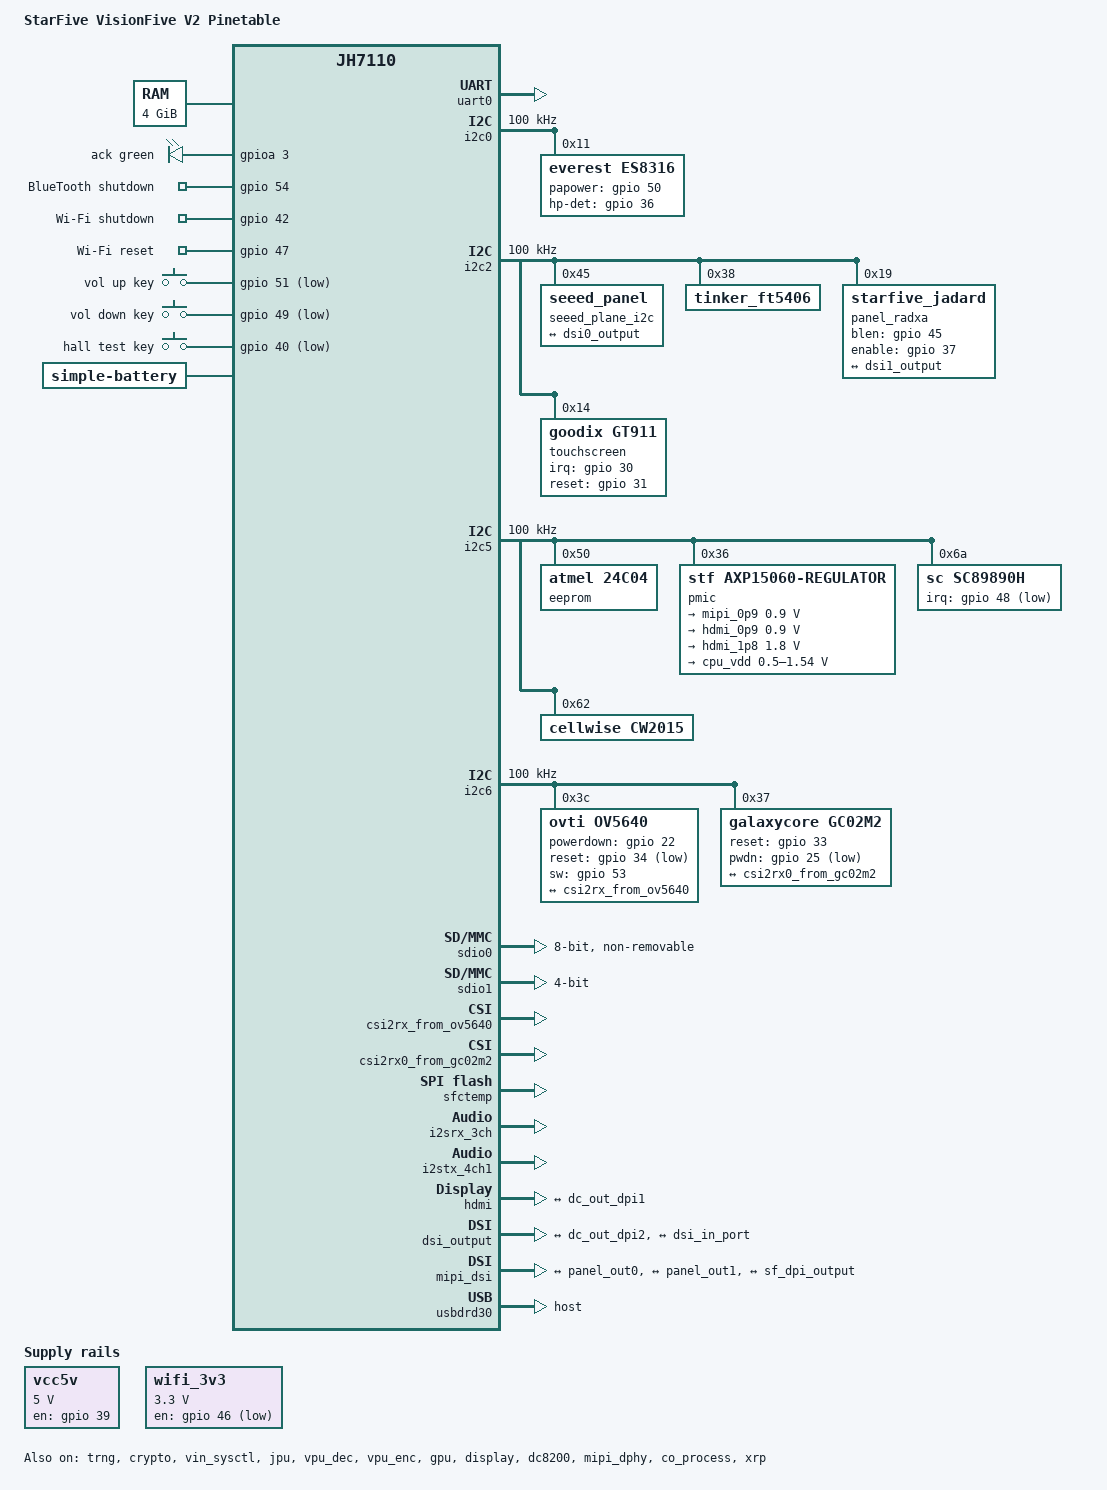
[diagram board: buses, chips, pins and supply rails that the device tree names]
// SPDX-License-Identifier: GPL-2.0 OR MIT
/*
 * Copyright (C) 2022 StarFive Technology Co., Ltd.
 * Copyright (C) 2022 Hal Feng <hal.feng@starfivetech.com>
 */

/dts-v1/;
#include <dt-bindings/gpio/gpio.h>
#include <dt-bindings/leds/common.h>
#include <dt-bindings/pinctrl/starfive,jh7110-pinfunc.h>
#include <dt-bindings/input/linux-event-codes.h>
#include "jh7110.dtsi"

/ {
	model = "StarFive VisionFive V2 Pinetable";
	compatible = "starfive,visionfive-v2", "starfive,jh7110";

	aliases {
		spi0 = &qspi;
		gpio0 = &gpio;
		ethernet0 = &gmac0;
		ethernet1 = &gmac1;
		mmc0 = &sdio0;
		mmc1 = &sdio1;
		serial0 = &uart0;
		serial3 = &uart3;
		i2c0 = &i2c0;
		i2c1 = &i2c1;
		i2c2 = &i2c2;
		i2c3 = &i2c3;
		i2c4 = &i2c4;
		i2c5 = &i2c5;
		i2c6 = &i2c6;
	};

	chosen {
		linux,initrd-start = <0x0 0x46100000>;
		linux,initrd-end = <0x0 0x4c000000>;
		stdout-path = "serial0:115200";
		#bootargs = "debug console=ttyS0 rootwait";
	};

	cpus {
		timebase-frequency = <4000000>;
	};

	memory@40000000 {
		device_type = "memory";
		reg = <0x0 0x40000000 0x1 0x0>;
	};

	reserved-memory {
		#address-cells = <2>;
		#size-cells = <2>;
		ranges;

		linux,cma {
			compatible = "shared-dma-pool";
			reusable;
			size = <0x0 0x20000000>;
			alignment = <0x0 0x1000>;
			alloc-ranges = <0x0 0x80000000 0x0 0x20000000>;
			linux,cma-default;
		};

		e24_mem: e24@c0000000 {
			no-map;
			reg = <0x0 0xc0110000 0x0 0xf0000>;
		};

		xrp_reserved: xrpbuffer@f0000000 {
			reg = <0x0 0xf0000000 0x0 0x01ffffff
				0x0 0xf2000000 0x0 0x00001000
				0x0 0xf2001000 0x0 0x00fff000
				0x0 0xf3000000 0x0 0x00001000>;
		};

	};

	leds {
		compatible = "gpio-leds";

		led-ack {
			gpios = <&gpioa 3 GPIO_ACTIVE_HIGH>;
			color = <LED_COLOR_ID_GREEN>;
			function = LED_FUNCTION_HEARTBEAT;
			linux,default-trigger = "heartbeat";
			label = "ack";
		};
	};

	vcc5v: vcc5v{
		compatible = "regulator-fixed";
		enable-active-high;
		gpio = <&gpio 39 0>;
		regulator-boot-on;
		regulator-always-on;
		regulator-name = "vcc_5v";
		regulator-min-microvolt = <5000000>;
		regulator-max-microvolt = <5000000>;
	};

	wifi_3v3: wifi_3v3{
		compatible = "regulator-fixed";
		enable-active-low;
		gpio = <&gpio 46 1>;
		regulator-boot-on;
		regulator-always-on;
		regulator-name = "wifi_3v3";
		regulator-min-microvolt = <3300000>;
		regulator-max-microvolt = <3300000>;
	};

	rfkill_bt {
		compatible = "rfkill-gpio";
		label = "BlueTooth";
		radio-type = "bluetooth";
		shutdown-gpios = <&gpio 54 GPIO_ACTIVE_HIGH>;
	};

	rfkill_wifi {
		compatible = "rfkill-gpio";
		label = "Wi-Fi";
		radio-type = "wlan";
		shutdown-gpios = <&gpio 42 GPIO_ACTIVE_HIGH>;
		reset-gpios = <&gpio 47 GPIO_ACTIVE_HIGH>;
	};

	gpio_keys: gpio-keys {
		status = "okay";
		compatible = "gpio-keys";
		autorepeat;

		vol-up-key {
			label = "vol up key";
			debounce-interval = <10>;
			linux,input-type = <EV_KEY>;
			linux,code = <KEY_VOLUMEUP>;
			gpios = <&gpio 51 GPIO_ACTIVE_LOW>;
		};

		vol-down-key {
			label = "vol down key";
			debounce-interval = <10>;
			linux,input-type = <EV_KEY>;
			linux,code = <KEY_VOLUMEDOWN>;
			gpios = <&gpio 49 GPIO_ACTIVE_LOW>;
		};

		hall-key {
			label = "hall test key";
			debounce-interval = <10>;
			linux,input-type = <EV_KEY>;
			linux,code = <KEY_1>;
			gpios = <&gpio 40 GPIO_ACTIVE_LOW>;
		};
	};

	bat: battery {
		compatible = "simple-battery";
		charge-full-design-microamp-hours = <9800000>;
		voltage-max-design-microvolt = <4350000>;
		voltage-min-design-microvolt = <3000000>;
	};


};

&gpio {
	i2c0_pins: i2c0-pins {
		i2c0-pins-scl {
			starfive,pins = <PAD_GPIO57>;
			starfive,pinmux = <PAD_GPIO57_FUNC_SEL 0>;
			starfive,pin-ioconfig = <IO(GPIO_IE(1) | (GPIO_PU(1)))>;
			starfive,pin-gpio-dout = <GPO_LOW>;
			starfive,pin-gpio-doen = <OEN_I2C0_IC_CLK_OE>;
			starfive,pin-gpio-din =  <GPI_I2C0_IC_CLK_IN_A>;
		};

		i2c0-pins-sda {
			starfive,pins = <PAD_GPIO58>;
			starfive,pinmux = <PAD_GPIO58_FUNC_SEL 0>;
			starfive,pin-ioconfig = <IO(GPIO_IE(1) | (GPIO_PU(1)))>;
			starfive,pin-gpio-dout = <GPO_LOW>;
			starfive,pin-gpio-doen = <OEN_I2C0_IC_DATA_OE>;
			starfive,pin-gpio-din =  <GPI_I2C0_IC_DATA_IN_A>;
		};
	};

	i2c5_pins: i2c5-pins {
		i2c5-pins-scl {
			starfive,pins = <PAD_GPIO19>;
			starfive,pinmux = <PAD_GPIO19_FUNC_SEL 0>;
			starfive,pin-ioconfig = <IO(GPIO_IE(1) | (GPIO_PU(1)))>;
			starfive,pin-gpio-dout = <GPO_LOW>;
			starfive,pin-gpio-doen = <OEN_I2C5_IC_CLK_OE>;
			starfive,pin-gpio-din =  <GPI_I2C5_IC_CLK_IN_A>;
		};

		i2c5-pins-sda {
			starfive,pins = <PAD_GPIO20>;
			starfive,pinmux = <PAD_GPIO20_FUNC_SEL 0>;
			starfive,pin-ioconfig = <IO(GPIO_IE(1) | (GPIO_PU(1)))>;
			starfive,pin-gpio-dout = <GPO_LOW>;
			starfive,pin-gpio-doen = <OEN_I2C5_IC_DATA_OE>;
			starfive,pin-gpio-din =  <GPI_I2C5_IC_DATA_IN_A>;
		};
	};

	i2c6_pins: i2c6-pins {
		i2c6-pins-scl {
			starfive,pins = <PAD_GPIO16>;
			starfive,pinmux = <PAD_GPIO16_FUNC_SEL 0>;
			starfive,pin-ioconfig = <IO(GPIO_IE(1) | (GPIO_PU(1)))>;
			starfive,pin-gpio-dout = <GPO_LOW>;
			starfive,pin-gpio-doen = <OEN_I2C6_IC_CLK_OE>;
			starfive,pin-gpio-din =  <GPI_I2C6_IC_CLK_IN_A>;
		};

		i2c6-pins-sda {
			starfive,pins = <PAD_GPIO17>;
			starfive,pinmux = <PAD_GPIO17_FUNC_SEL 0>;
			starfive,pin-ioconfig = <IO(GPIO_IE(1) | (GPIO_PU(1)))>;
			starfive,pin-gpio-dout = <GPO_LOW>;
			starfive,pin-gpio-doen = <OEN_I2C6_IC_DATA_OE>;
			starfive,pin-gpio-din =  <GPI_I2C6_IC_DATA_IN_A>;
		};
	};

	csi_pins: csi-pins {
		csi-pins-pwdn {
			starfive,pins = <PAD_GPIO18>;
			starfive,pinmux = <PAD_GPIO18_FUNC_SEL 0>;
			starfive,pin-ioconfig = <IO(GPIO_IE(1))>;
			starfive,pin-gpio-dout = <GPO_HIGH>;
			starfive,pin-gpio-doen = <OEN_LOW>;
		};
	};

	ov5640_pins: ov5640_pins {
		ov5640_pins-pwdn {
			starfive,pins = <PAD_GPIO22>;
			starfive,pinmux = <PAD_GPIO22_FUNC_SEL 0>;
			starfive,pin-ioconfig = <IO(GPIO_IE(1))>;
			starfive,pin-gpio-dout = <GPO_HIGH>;
			starfive,pin-gpio-doen = <OEN_LOW>;
		};

		ov5640_pins-rst {
			starfive,pins = <PAD_GPIO34>;
			starfive,pinmux = <PAD_GPIO34_FUNC_SEL 0>;
			starfive,pin-ioconfig = <IO(GPIO_IE(1))>;
			starfive,pin-gpio-dout = <GPO_HIGH>;
			starfive,pin-gpio-doen = <OEN_LOW>;
		};

		ov5640_pins-sw {
			starfive,pins = <PAD_GPIO53>;
			starfive,pinmux = <PAD_GPIO53_FUNC_SEL 0>;
			starfive,pin-ioconfig = <IO(GPIO_IE(1))>;
			starfive,pin-gpio-dout = <GPO_HIGH>;
			starfive,pin-gpio-doen = <OEN_LOW>;
		};
	};

	gc02m2_pins: gc02m2_pins {
		gc02m2pins-pwdn {
			starfive,pins = <PAD_GPIO25>;
			starfive,pinmux = <PAD_GPIO25_FUNC_SEL 0>;
			starfive,pin-ioconfig = <IO(GPIO_IE(1))>;
			starfive,pin-gpio-dout = <GPO_HIGH>;
			starfive,pin-gpio-doen = <OEN_LOW>;
		};

		gc02m2_pins-rst {
			starfive,pins = <PAD_GPIO33>;
			starfive,pinmux = <PAD_GPIO33_FUNC_SEL 0>;
			starfive,pin-ioconfig = <IO(GPIO_IE(1))>;
			starfive,pin-gpio-dout = <GPO_HIGH>;
			starfive,pin-gpio-doen = <OEN_LOW>;
		};

		// gc02m2_pins-sw {
		// 	starfive,pins = <PAD_GPIO53>;
		// 	starfive,pinmux = <PAD_GPIO53_FUNC_SEL 0>;
		// 	starfive,pin-ioconfig = <IO(GPIO_IE(1))>;
		// 	starfive,pin-gpio-dout = <GPO_LOW>;
		// 	starfive,pin-gpio-doen = <OEN_LOW>;
		// };
	};

	pwmdac0_pins: pwmdac0-pins {
		pwmdac0-pins-left {
			starfive,pins = <PAD_GPIO33>;
			starfive,pinmux = <PAD_GPIO33_FUNC_SEL 0>;
			starfive,pin-ioconfig = <IO(GPIO_IE(1) | (GPIO_PU(1)))>;
			starfive,pin-gpio-dout = <GPO_PWMDAC0_LEFT_OUTPUT>;
			starfive,pin-gpio-doen = <OEN_LOW>;
		};

		pwmdac0-pins-right {
			starfive,pins = <PAD_GPIO34>;
			starfive,pinmux = <PAD_GPIO34_FUNC_SEL 0>;
			starfive,pin-ioconfig = <IO(GPIO_IE(1) | (GPIO_PU(1)))>;
			starfive,pin-gpio-dout = <GPO_PWMDAC0_RIGHT_OUTPUT>;
			starfive,pin-gpio-doen = <OEN_LOW>;
		};
	};

	pwm_pins: pwm-pins {
		pwm_ch0-pins {
			starfive,pins = <PAD_GPIO46>;
			starfive,pinmux = <PAD_GPIO46_FUNC_SEL 0>;
			starfive,pin-ioconfig = <IO(GPIO_IE(1))>;
			starfive,pin-gpio-dout = <GPO_PTC0_PWM_0>;
			starfive,pin-gpio-doen = <OEN_PTC0_PWM_0_OE_N>;
		};

		pwm_ch1-pins {
			starfive,pins = <PAD_GPIO59>;
			starfive,pinmux = <PAD_GPIO59_FUNC_SEL 0>;
			starfive,pin-ioconfig = <IO(GPIO_IE(1))>;
			starfive,pin-gpio-dout = <GPO_PTC0_PWM_1>;
			starfive,pin-gpio-doen = <OEN_PTC0_PWM_1_OE_N>;
		};
	};

	ssp0_pins: ssp0-pins {
		ssp0-pins_tx {
			starfive,pins = <PAD_GPIO52>;
			starfive,pinmux = <PAD_GPIO52_FUNC_SEL 0>;
			starfive,pin-ioconfig = <IO(GPIO_IE(1))>;
			starfive,pin-gpio-dout = <GPO_SPI0_SSPTXD>;
			starfive,pin-gpio-doen = <OEN_LOW>;
		};

		ssp0-pins_rx {
			starfive,pins = <PAD_GPIO53>;
			starfive,pinmux = <PAD_GPIO53_FUNC_SEL 0>;
			starfive,pin-ioconfig = <IO(GPIO_IE(1))>;
			starfive,pin-gpio-doen = <OEN_HIGH>;
			starfive,pin-gpio-din =  <GPI_SPI0_SSPRXD>;
		};

		ssp0-pins_clk {
			starfive,pins = <PAD_GPIO48>;
			starfive,pinmux = <PAD_GPIO48_FUNC_SEL 0>;
			starfive,pin-ioconfig = <IO(GPIO_IE(1))>;
			starfive,pin-gpio-dout = <GPO_SPI0_SSPCLKOUT>;
			starfive,pin-gpio-doen = <OEN_LOW>;
		};

		ssp0-pins_cs {
			starfive,pins = <PAD_GPIO49>;
			starfive,pinmux = <PAD_GPIO49_FUNC_SEL 0>;
			starfive,pin-ioconfig = <IO(GPIO_IE(1))>;
			starfive,pin-gpio-dout = <GPO_SPI0_SSPFSSOUT>;
			starfive,pin-gpio-doen = <OEN_LOW>;
		};
	};

	pcie0_perst_default: pcie0_perst_default {
		perst-pins {
			starfive,pins = <PAD_GPIO26>;
			starfive,pinmux = <PAD_GPIO26_FUNC_SEL 0>;
			starfive,pin-ioconfig = <IO(GPIO_IE(1))>;
			starfive,pin-gpio-dout = <GPO_HIGH>;
			starfive,pin-gpio-doen = <OEN_LOW>;
		};
	};

	pcie0_perst_active: pcie0_perst_active {
		perst-pins {
			starfive,pins = <PAD_GPIO26>;
			starfive,pinmux = <PAD_GPIO26_FUNC_SEL 0>;
			starfive,pin-ioconfig = <IO(GPIO_IE(1))>;
			starfive,pin-gpio-dout = <GPO_LOW>;
			starfive,pin-gpio-doen = <OEN_LOW>;
		};
	};

	pcie0_wake_default: pcie0_wake_default {
		wake-pins {
			starfive,pins = <PAD_GPIO32>;
			starfive,pinmux = <PAD_GPIO32_FUNC_SEL 0>;
			starfive,pin-ioconfig = <IO(GPIO_IE(1))>;
			starfive,pin-gpio-doen = <OEN_HIGH>;
		};
	};

	pcie0_clkreq_default: pcie0_clkreq_default {
		clkreq-pins {
			starfive,pins = <PAD_GPIO27>;
			starfive,pinmux = <PAD_GPIO27_FUNC_SEL 0>;
			starfive,pin-ioconfig = <IO(GPIO_IE(1))>;
			starfive,pin-gpio-doen = <OEN_HIGH>;
		};
	};

	pcie1_perst_default: pcie1_perst_default {
		perst-pins {
			starfive,pins = <PAD_GPIO28>;
			starfive,pinmux = <PAD_GPIO28_FUNC_SEL 0>;
			starfive,pin-ioconfig = <IO(GPIO_IE(1))>;
			starfive,pin-gpio-dout = <GPO_HIGH>;
			starfive,pin-gpio-doen = <OEN_LOW>;
		};
	};

	pcie1_perst_active: pcie1_perst_active {
		perst-pins {
			starfive,pins = <PAD_GPIO28>;
			starfive,pinmux = <PAD_GPIO28_FUNC_SEL 0>;
			starfive,pin-ioconfig = <IO(GPIO_IE(1))>;
			starfive,pin-gpio-dout = <GPO_LOW>;
			starfive,pin-gpio-doen = <OEN_LOW>;
		};
	};

	pcie1_wake_default: pcie1_wake_default {
		wake-pins {
			starfive,pins = <PAD_GPIO21>;
			starfive,pinmux = <PAD_GPIO21_FUNC_SEL 0>;
			starfive,pin-ioconfig = <IO(GPIO_IE(1))>;
			starfive,pin-gpio-doen = <OEN_HIGH>;
		};
	};

	pcie1_clkreq_default: pcie1_clkreq_default {
		clkreq-pins {
			starfive,pins = <PAD_GPIO29>;
			starfive,pinmux = <PAD_GPIO29_FUNC_SEL 0>;
			starfive,pin-ioconfig = <IO(GPIO_IE(1))>;
			starfive,pin-gpio-doen = <OEN_HIGH>;
		};
	};

	usb_pins: usb-pins {
		// drive-vbus-pin {
		// 	starfive,pins = <PAD_GPIO25>;
		// 	starfive,pinmux = <PAD_GPIO25_FUNC_SEL 0>;
		// 	starfive,pin-ioconfig = <IO(GPIO_IE(1))>;
		// 	starfive,pin-gpio-dout = <GPO_USB0_DRIVE_VBUS_IO>;
		// 	starfive,pin-gpio-doen = <OEN_LOW>;
		// };
        overcurrent-pin {
            starfive,pins = <PAD_GPIO43>;
            starfive,pinmux = <PAD_GPIO43_FUNC_SEL 0>;
            starfive,pin-ioconfig = <IO(GPIO_IE(1))>;
            starfive,pin-gpio-din = <GPI_USB0_OVERCURRENT_N_IO>;
            starfive,pin-gpio-doen = <OEN_HIGH>;
        };
	};

	i2srx_pins: i2srx-pins {
		i2srx-pins0 {
			starfive,pins = <PAD_GPIO61>;
			starfive,pinmux = <PAD_GPIO61_FUNC_SEL 0>;
			starfive,pin-ioconfig = <IO(GPIO_IE(1))>;
			starfive,pin-gpio-doen = <OEN_HIGH>;
			starfive,pin-gpio-din =  <GPI_I2SRX0_EXT_SDIN0>;
		};
	};

	i2s_clk_pins: i2s-clk0 {
		i2s-clk0_bclk {
			starfive,pins = <PAD_GPIO38>;
			starfive,pinmux = <PAD_GPIO38_FUNC_SEL 0>;
			starfive,pin-ioconfig = <IO(GPIO_IE(1))>;
			starfive,pin-gpio-din = <GPI_I2STX0_BCLK_SLV GPI_I2SRX0_BCLK_SLV>;
			starfive,pin-gpio-doen = <OEN_HIGH>;
		};

		i2s-clk0_lrclk {
			starfive,pins = <PAD_GPIO63>;
			starfive,pinmux = <PAD_GPIO63_FUNC_SEL 0>;
			starfive,pin-ioconfig = <IO(GPIO_IE(1))>;
			starfive,pin-gpio-din = <GPI_I2STX0_LRCK_SLV GPI_I2SRX0_LRCK_SLV>;
			starfive,pin-gpio-doen = <OEN_HIGH>;
		};
	};

	i2stx_pins: i2stx-pins {
		i2stx-pins0 {
			starfive,pins = <PAD_GPIO44>;
			starfive,pinmux = <PAD_GPIO44_FUNC_SEL 0>;
			starfive,pin-ioconfig = <IO(GPIO_IE(1))>;
			starfive,pin-gpio-dout = <GPO_I2STX_4CH1_SDO0>;
			starfive,pin-gpio-doen = <OEN_LOW>;
		};
	};

	rfkill_wifi_pins: rfkill_wifi_pins {
		rfkill_wifi_disn {
			starfive,pins = <PAD_GPIO42>;
			starfive,pinmux = <PAD_GPIO42_FUNC_SEL 0>;
			starfive,pin-ioconfig = <IO(GPIO_IE(1))>;
			starfive,pin-gpio-doen = <OEN_HIGH>;			
		};
	};

	rfkill_bt_pins: rfkill_bt_pins {
		rfkill_bt_disn {
			starfive,pins = <PAD_GPIO54>;
			starfive,pinmux = <PAD_GPIO54_FUNC_SEL 0>;
			starfive,pin-ioconfig = <IO(GPIO_IE(1))>;
			starfive,pin-gpio-doen = <OEN_HIGH>;
		};
	};
};

&uart0 {
	status = "okay";
};

&dma {
	status = "okay";
};

&trng {
	status = "okay";
};

&crypto {
	status = "okay";
};

&sec_dma {
	status = "okay";
};

/* i2s + es8316 */
&sound7 {
	/* i2s + es8316 */
	simple-audio-card,dai-link@0 {
		reg = <0>;
		format = "i2s";
		bitclock-master = <&sndes8316>;
		frame-master = <&sndes8316>;
		mclk-fs = <256>;
		status = "okay";

		sndi2srx1: cpu0 {
			sound-dai = <&i2srx_3ch>;
		};

		sndi2stx1: cpu1 {
			sound-dai = <&i2stx_4ch1>;
		};

		sndes8316: codec {
			sound-dai = <&es8316>;
		};
	};
};

&i2c0 {
	clock-frequency = <100000>;
	i2c-sda-hold-time-ns = <300>;
	i2c-sda-falling-time-ns = <510>;
	i2c-scl-falling-time-ns = <510>;
	auto_calc_scl_lhcnt;
	pinctrl-names = "default";
	pinctrl-0 = <&i2c0_pins>;
	status = "okay";

	es8316: codec@11 {
		compatible = "everest,es8316";
		reg = <0x11>;
		clocks = <&es8316_mclk>;
		clock-names = "mclk";
		#sound-dai-cells = <0>;

		papower-gpio = <&gpio 50 0>;
		hp-det-gpio = <&gpio 36 0>;
	};

};

&i2c2 {
	clock-frequency = <100000>;
	i2c-sda-hold-time-ns = <300>;
	i2c-sda-falling-time-ns = <510>;
	i2c-scl-falling-time-ns = <510>;
	auto_calc_scl_lhcnt;
	status = "okay";

	seeed_plane_i2c@45 {
		compatible = "seeed_panel";
		reg = <0x45>;

		port {
			panel_out0: endpoint {
				remote-endpoint = <&dsi0_output>;
			};
		};
	};

	tinker_ft5406: tinker_ft5406@38 {
		compatible = "tinker_ft5406";
		reg = <0x38>;
	};

	panel_radxa@19 {
		status = "okay";
		compatible ="starfive_jadard";
		reg = <0x19>;
		//reset-gpio = <&gpio 23 0>;
		blen-gpio = <&gpio 45 0>;
		enable-gpio = <&gpio 37 0>;

		port {
			panel_out1: endpoint {
				remote-endpoint = <&dsi1_output>;
				};
		};
	};

	touchscreen@14 {
		status = "okay";
		compatible = "goodix,gt911";
		reg = <0x14>;
		irq-gpios = <&gpio 30 GPIO_ACTIVE_HIGH>;
		reset-gpios = <&gpio 31 GPIO_ACTIVE_HIGH>;
	};
};

&i2c5 {
	clock-frequency = <100000>;
	i2c-sda-hold-time-ns = <300>;
	i2c-sda-falling-time-ns = <510>;
	i2c-scl-falling-time-ns = <510>;
	auto_calc_scl_lhcnt;
	pinctrl-names = "default";
	pinctrl-0 = <&i2c5_pins>;
	status = "okay";

	eeprom@50 {
		compatible = "atmel,24c04";
		reg = <0x50>;
		pagesize = <16>;
	};

	pmic: axp15060_reg@36 {
		compatible = "stf,axp15060-regulator";
		reg = <0x36>;

		regulators {
			mipi_0p9: ALDO1 {
				regulator-boot-on;
				regulator-compatible = "mipi_0p9";
				regulator-name = "mipi_0p9";
				regulator-min-microvolt = <900000>;
				regulator-max-microvolt = <900000>;
			};
			hdmi_0p9: ALDO5 {
				regulator-boot-on;
				regulator-compatible = "hdmi_0p9";
				regulator-name = "hdmi_0p9";
				regulator-min-microvolt = <900000>;
				regulator-max-microvolt = <900000>;
			};
			hdmi_1p8: ALDO3 {
				regulator-boot-on;
				regulator-compatible = "hdmi_1p8";
				regulator-name = "hdmi_1p8";
				regulator-min-microvolt = <1800000>;
				regulator-max-microvolt = <1800000>;
			};
			cpu_vdd: DCDC2 {
				regulator-boot-on;
				regulator-always-on;
				regulator-compatible = "cpu_vdd";
				regulator-name = "cpu_vdd";
				regulator-min-microvolt = <500000>;
				regulator-max-microvolt = <1540000>;
			};
		};
	};

	// sc89890: sc89890@6a{
	// 	compatible = "sc,sc89890";
	// 	reg = <0x6a>;

	// 	// interrupt-parent = <&gpio>;
	// 	// interrupts = <RK_PD5 IRQ_TYPE_EDGE_FALLING>;
	// 	irq-gpios = <&gpio 48 GPIO_ACTIVE_LOW>;

	// 	sc,battery-regulation-voltage = <4200000>;
	// 	sc,charge-current = <1000000>;
	// 	// sc,termination-current = <50000>;
	// 	sc,termination-current = <500>;
	// 	sc,precharge-current = <128000>;
	// 	sc,minimum-sys-voltage = <3000000>;
	// 	sc,boost-voltage = <5000000>;
	// 	sc,boost-max-current = <1600000>;

	// 	// sc,thermal-regulation-threshold = <4000000>;
	// 	// sc,ibatcomp-clamp-microvolt = <1000000>;
	// 	sc,ibatcomp-micro-ohms = <10>;

	// 	sc89890h_otg_vbus: sc89890h_otg_vbus {
    //         regulator-name = "sc89890h_otg_vbus";
    //     };
	// };

	sc89890h: sc89890@6a{
		compatible = "sc,sc89890h";
		reg = <0x6A>;

		// nterrupt-parent = <&tlmm>;
		// interrupts = <65 0>;
		// pinctrl-names = "default";
		// pinctrl-0 = <&sc89890h_int_default>;
		irq-gpios = <&gpio 48 GPIO_ACTIVE_LOW>;

		charger_name = "primary_chg";
		eint_name = "chr_stat";
		/*sc,sc8989x,charge-detect-enable*/
		sc,sc89890h,usb-vlim = <4500>;
		sc,sc89890h,usb-ilim = <2000>;
		sc,sc89890h,usb-vreg = <4200>;
		sc,sc89890h,usb-ichg = <2000>;
		sc,sc89890h,precharge-current = <180>;
		sc,sc89890h,termination-current = <180>;
		sc,sc89890h,boost-voltage = <5000>;
		sc,sc89890h,boost-current = <1200>;
		sc,sc89890h,charge-current = <1500>;
	};

    cw2015@62 {
        status = "okay";
        compatible = "cellwise,cw2015";
        reg = <0x62>;
        cellwise,battery-profile = /bits/ 8
				<0x17 0x67 0x63 0x64 0x63 0x62 0x61 0x5E
                0x59 0x61 0x55 0x57 0x60 0x50 0x43 0x3C
                0x33 0x2D 0x27 0x24 0x26 0x2D 0x39 0x47
                0x44 0x11 0x0E 0x15 0x20 0x41 0x48 0x55
                0x59 0x5B 0x60 0x60 0x3F 0x19 0x6A 0x4A
                0x0B 0x1B 0x2D 0x57 0x8B 0x93 0x96 0x13
                0x2E 0x56 0xA3 0xCA 0x80 0x6A 0x99 0xCB
                0x2F 0x00 0x64 0xA5 0xB5 0x11 0xF0 0x31>;
        cellwise,monitor-interval-ms = <5000>;
		monitored-battery = <&bat>;
        power-supplies = <&sc89890h>;
    };  
};

&i2c6 {
	clock-frequency = <100000>;
	i2c-sda-hold-time-ns = <300>;
	i2c-sda-falling-time-ns = <510>;
	i2c-scl-falling-time-ns = <510>;
	auto_calc_scl_lhcnt;
	pinctrl-names = "default";
	pinctrl-0 = <&i2c6_pins>;
	status = "okay";

	ov5640: camera@3c {
		status = "okay";
		compatible = "ovti,ov5640";
		pinctrl-names = "default";
		pinctrl-0 = <&ov5640_pins>;
		reg = <0x3c>;
		clocks = <&clk_ext_camera>;
		clock-names = "xclk";
		powerdown-gpios = <&gpio 22 GPIO_ACTIVE_HIGH>;
		reset-gpios = <&gpio 34 GPIO_ACTIVE_LOW>;
		sw-gpios = <&gpio 53 GPIO_ACTIVE_HIGH>;
		rotation = <0>;

		port {
			/* CSI2 bus endpoint */
			ov5640_to_csi2rx: endpoint {
				remote-endpoint = <&csi2rx_from_ov5640>;
				bus-type = <4>;      /* MIPI CSI-2 D-PHY */
				data-lanes = <2 1>;
				lane-polarities = <0 0 0>;
				link-frequencies = /bits/ 64 <456000000>;
			};
		};
	};

	gc02m2: gc02m2@37 {
		status = "okay";
		compatible = "galaxycore,gc02m2";
		pinctrl-names = "default";
		pinctrl-0 = <&gc02m2_pins>;
		reg = <0x37>;
		clocks = <&clk_ext_camera>;
		clock-names = "xvclk";
		reset-gpio = <&gpio 33 GPIO_ACTIVE_HIGH>;
		pwdn-gpio = <&gpio 25 GPIO_ACTIVE_LOW>;
		// sw-gpios = <&gpio 53 GPIO_ACTIVE_LOW>;

		port {
			gc02m2_to_csi2rx0: endpoint {
				remote-endpoint = <&csi2rx0_from_gc02m2>;
				bus-type = <4>;      /* MIPI CSI-2 D-PHY */
				data-lanes = <1>;
				link-frequencies = /bits/ 64 <336000000>;
			};
		};
	};
};

&sdio0 {
	max-frequency = <100000000>;
	card-detect-delay = <300>;
	bus-width = <8>;
	cap-mmc-highspeed;
	// mmc-ddr-1_8v;
	// mmc-hs200-1_8v;
	non-removable;
	cap-mmc-hw-reset;
	post-power-on-delay-ms = <200>;
	status = "okay";
};

&sdio1 {
	max-frequency = <100000000>;
	card-detect-delay = <300>;
	bus-width = <4>;
	no-sdio;
	no-mmc;
	broken-cd;
	cap-sd-highspeed;
	post-power-on-delay-ms = <200>;
	status = "okay";
};

&vin_sysctl {
	/* when use dvp open this pinctrl*/
	status = "okay";

	ports {
		#address-cells = <1>;
		#size-cells = <0>;

		port@1 {
			reg = <1>;
			#address-cells = <1>;
			#size-cells = <0>;

			csi2rx_from_ov5640: endpoint@0 {
				reg = <0>;
				remote-endpoint = <&ov5640_to_csi2rx>;
				bus-type = <4>;      /* MIPI CSI-2 D-PHY */
				clock-lanes = <0>;
				data-lanes = <2 1>;
				lane-polarities = <0 0 0>;
				status = "okay";
			};

			csi2rx0_from_gc02m2: endpoint@1 {
				reg = <1>;
				remote-endpoint = <&gc02m2_to_csi2rx0>;
				bus-type = <4>;      /* MIPI CSI-2 D-PHY */
				clock-lanes = <0>;
				data-lanes = <2 1>;
				lane-polarities = <0 0 0>;
				status = "okay";
			};
		};
	};
};

&sfctemp {
	status = "okay";
};

&jpu {
	status = "okay";
};

&vpu_dec {
	status = "okay";
};

&vpu_enc {
	status = "okay";
};

&gmac0 {
	status = "disabled";
	#address-cells = <1>;
	#size-cells = <0>;
	phy0: ethernet-phy@0 {
		rxc_dly_en = <1>;
		tx_delay_sel_fe = <5>;
		tx_delay_sel = <0xa>;
		tx_inverted_10 = <0x1>;
		tx_inverted_100 = <0x1>;
		tx_inverted_1000 = <0x1>;
	};
};

&gmac1 {
	#address-cells = <1>;
	#size-cells = <0>;
	status = "disabled";
	phy1: ethernet-phy@1 {
		tx_delay_sel_fe = <5>;
		tx_delay_sel = <0>;
		rxc_dly_en = <0>;
		tx_inverted_10 = <0x1>;
		tx_inverted_100 = <0x1>;
		tx_inverted_1000 = <0x0>;
	};
};

&gpu {
	status = "okay";
};

&pwmdac {
	pinctrl-names = "default";
	pinctrl-0 = <&pwmdac0_pins>;
	status = "disabled";
};

&i2srx_3ch {
	pinctrl-names = "default";
	pinctrl-0 = <&i2s_clk_pins &i2srx_pins>;
	status = "okay";
};

&i2stx_4ch1 {
	pinctrl-names = "default";
	pinctrl-0 = <&i2stx_pins>;
	status = "okay";
};

&pwmdac_codec {
	status = "disabled";
};

&spi0 {
	pinctrl-names = "default";
	pinctrl-0 = <&ssp0_pins>;
	status = "disabled";

	spi_dev0: spi@0 {
		compatible = "rohm,dh2228fv";
		pl022,com-mode = <1>;
		spi-max-frequency = <10000000>;
		reg = <0>;
		status = "okay";
	};
};

&pcie0 {
	pinctrl-names = "default", "perst-default", "perst-active";
	pinctrl-0 = <&pcie0_wake_default>,
		    <&pcie0_clkreq_default>;
	pinctrl-1 = <&pcie0_perst_default>;
	pinctrl-2 = <&pcie0_perst_active>;
	status = "disabled";
};

&pcie1 {
	pinctrl-names = "default", "perst-default", "perst-active";
	pinctrl-0 = <&pcie1_wake_default>,
		    <&pcie1_clkreq_default>;
	pinctrl-1 = <&pcie1_perst_default>;
	pinctrl-2 = <&pcie1_perst_active>;
	status = "disabled";
};

&mailbox_contrl0 {
	status = "okay";
};

&mailbox_client0 {
	status = "okay";
};

&display {
	status = "okay";
};

&hdmi {
	status = "okay";

	hdmi_in: port {
		#address-cells = <1>;
		#size-cells = <0>;
		hdmi_in_lcdc: endpoint@0 {
			reg = <0>;
			remote-endpoint = <&dc_out_dpi1>;
		};
	};
};

&dc8200 {
	status = "okay";

	dc_out: port {
		#address-cells = <1>;
		#size-cells = <0>;
		dc_out_dpi0: endpoint@0 {
			reg = <0>;
			remote-endpoint = <&hdmi_input0>;
		};
		dc_out_dpi1: endpoint@1 {
			reg = <1>;
			remote-endpoint = <&hdmi_in_lcdc>;
		};

		dc_out_dpi2: endpoint@2 {
			reg = <2>;
			remote-endpoint = <&mipi_in>;
		};
	};
};

&rgb_output {
	status = "disabled";

	ports {
		#address-cells = <1>;
		#size-cells = <0>;
		port@0 {
			#address-cells = <1>;
			#size-cells = <0>;
			reg = <0>;
			hdmi_input0:endpoint@0 {
				reg = <0>;
				remote-endpoint = <&dc_out_dpi0>;
			};
		};
	};
};

&dsi_output {
	status = "okay";

	ports {
		#address-cells = <1>;
		#size-cells = <0>;

		port@0 {
			reg = <0>;
			mipi_in: endpoint {
				remote-endpoint = <&dc_out_dpi2>;
			};
		};

		port@1 {
			reg = <1>;
			sf_dpi_output: endpoint {
				remote-endpoint = <&dsi_in_port>;
			};
		};
	};
};

&mipi_dsi {
	status = "okay";

	ports {
		#address-cells = <1>;
		#size-cells = <0>;

		port@0 {
			reg = <0>;
			#address-cells = <1>;
			#size-cells = <0>;

			dsi0_output: endpoint@0 {
				reg = <0>;
				remote-endpoint = <&panel_out0>;
			};

			dsi1_output: endpoint@1 {
				reg = <1>;
				remote-endpoint = <&panel_out1>;
			};
		};

		port@1{
			reg = <1>;
			dsi_in_port: endpoint {
				remote-endpoint = <&sf_dpi_output>;
			};
		};

	};
};

&mipi_dphy {
	status = "okay";
};

&co_process {
	status = "okay";
};

&usbdrd30 {
	// clocks = <&clkgen JH7110_USB_125M>,
	// 	 <&clkgen JH7110_USB0_CLK_APP_125>,
	// 	 <&clkgen JH7110_USB0_CLK_LPM>,
	// 	 <&clkgen JH7110_USB0_CLK_STB>,
	// 	 <&clkgen JH7110_USB0_CLK_USB_APB>,
	// 	 <&clkgen JH7110_USB0_CLK_AXI>,
	// 	 <&clkgen JH7110_USB0_CLK_UTMI_APB>;
	// clock-names = "125m","app","lpm","stb","apb","axi","utmi";
	// resets = <&rstgen RSTN_U0_CDN_USB_PWRUP>,
	// 	 <&rstgen RSTN_U0_CDN_USB_APB>,
	// 	 <&rstgen RSTN_U0_CDN_USB_AXI>,
	// 	 <&rstgen RSTN_U0_CDN_USB_UTMI_APB>;
	// reset-names = "pwrup","apb","axi","utmi";
	// starfive,usb2-only;
	dr_mode = "host"; /*host or peripheral*/
    pinctrl-names = "default";
    pinctrl-0 = <&usb_pins>;

	xhci-lowmem-pool;
	status = "okay";
};

&xrp {
	status = "okay";
};

&ptc {
	pinctrl-names = "default";
	pinctrl-0 = <&pwm_pins>;
	status = "disabled";
};
